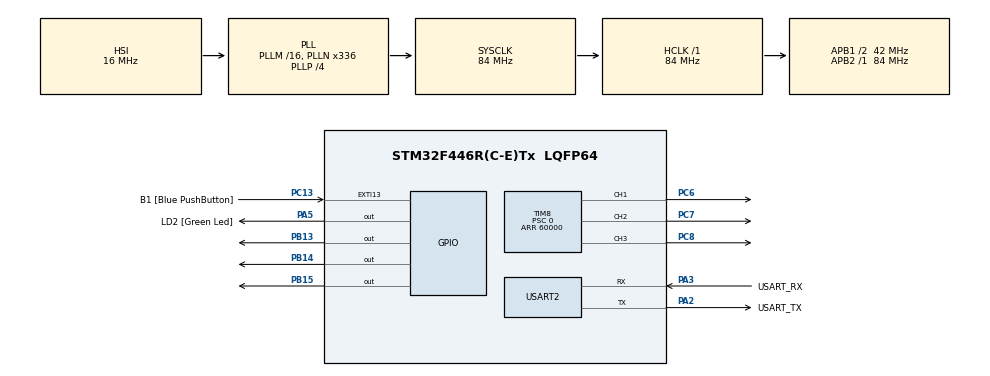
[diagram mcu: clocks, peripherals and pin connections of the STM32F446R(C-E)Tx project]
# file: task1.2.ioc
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Mcu.Family=STM32F4
Mcu.Name=STM32F446R(C-E)Tx
Mcu.Package=LQFP64
NVIC.EXTI15_10_IRQn=true\:0\:0\:false\:false\:true\:true\:true\:true
NVIC.PriorityGroup=NVIC_PRIORITYGROUP_0
NVIC.TIM8_UP_TIM13_IRQn=true\:0\:0\:false\:false\:true\:true\:true\:true
PA13.GPIO_Label=TMS
PA13.Mode=Serial_Wire
PA13.Signal=SYS_JTMS-SWDIO
PA14.GPIO_Label=TCK
PA14.Mode=Serial_Wire
PA14.Signal=SYS_JTCK-SWCLK
PA2.GPIO_Label=USART_TX
PA2.Mode=Asynchronous
PA2.Signal=USART2_TX
PA3.GPIO_Label=USART_RX
PA3.Mode=Asynchronous
PA3.Signal=USART2_RX
PA5.GPIO_Label=LD2 [Green Led]
PA5.Signal=GPIO_Output
PB13.Signal=GPIO_Output
PB14.PinState=GPIO_PIN_RESET
PB14.Signal=GPIO_Output
PB15.Signal=GPIO_Output
PB3.GPIO_Label=SWO
PB3.Signal=SYS_JTDO-SWO
PC13.GPIO_Label=B1 [Blue PushButton]
PC13.GPIO_ModeDefaultEXTI=GPIO_MODE_IT_RISING
PC13.Signal=GPXTI13
PC14-OSC32_IN.Signal=RCC_OSC32_IN
PC15-OSC32_OUT.Signal=RCC_OSC32_OUT
PC6.Signal=S_TIM8_CH1
PC7.Signal=S_TIM8_CH2
PC8.Signal=S_TIM8_CH3
PH0-OSC_IN.Mode=HSE-External-Oscillator
PH0-OSC_IN.Signal=RCC_OSC_IN
PH1-OSC_OUT.Mode=HSE-External-Oscillator
PH1-OSC_OUT.Signal=RCC_OSC_OUT
ProjectManager.HeapSize=0x200
ProjectManager.StackSize=0x400
ProjectManager.TargetToolchain=STM32CubeIDE
RCC.48MHZClocksFreq_Value=84000000
RCC.AHBFreq_Value=84000000
RCC.APB1CLKDivider=RCC_HCLK_DIV2
RCC.APB1Freq_Value=42000000
RCC.APB1TimFreq_Value=84000000
RCC.APB2Freq_Value=84000000
RCC.APB2TimFreq_Value=84000000
RCC.CortexFreq_Value=84000000
RCC.FLatency-AdvancedSettings=FLASH_LATENCY_2
RCC.HCLKFreq_Value=84000000
RCC.HSE_VALUE=8000000
RCC.HSI_VALUE=16000000
RCC.PLLN=336
RCC.PLLP=RCC_PLLP_DIV4
RCC.SYSCLKFreq_VALUE=84000000
RCC.SYSCLKSource=RCC_SYSCLKSOURCE_PLLCLK
RCC.USBFreq_Value=168000000
RCC.VCOOutputFreq_Value=336000000
SH.S_TIM8_CH1.0=TIM8_CH1,PWM Generation1 CH1
SH.S_TIM8_CH2.0=TIM8_CH2,PWM Generation2 CH2
SH.S_TIM8_CH3.0=TIM8_CH3,PWM Generation3 CH3
TIM8.Channel-PWM\ Generation1\ CH1=TIM_CHANNEL_1
TIM8.Channel-PWM\ Generation2\ CH2=TIM_CHANNEL_2
TIM8.Channel-PWM\ Generation3\ CH3=TIM_CHANNEL_3
TIM8.Period=60000
TIM8.Prescaler=0
TIM8.Pulse-PWM\ Generation1\ CH1=30000
TIM8.Pulse-PWM\ Generation2\ CH2=30000
TIM8.Pulse-PWM\ Generation3\ CH3=30000
USART2.VirtualMode=VM_ASYNC
board=NUCLEO-F446RE

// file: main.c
/* USER CODE BEGIN Header */
/**
  ******************************************************************************
  * @file           : main.c
  * @brief          : Main program body
  ******************************************************************************
  * @attention
  *
  * Copyright (c) 2023 STMicroelectronics.
  * All rights reserved.
  *
  * This software is licensed under terms that can be found in the LICENSE file
  * in the root directory of this software component.
  * If no LICENSE file comes with this software, it is provided AS-IS.
  *
  ******************************************************************************
  */
/* USER CODE END Header */
#include "main.h"

TIM_HandleTypeDef htim8;

UART_HandleTypeDef huart2;

void SystemClock_Config(void);
static void MX_GPIO_Init(void);
static void MX_USART2_UART_Init(void);
static void MX_TIM8_Init(void);

/* USER CODE BEGIN 0 */

uint8_t condition;

/* USER CODE END 0 */

int main(void)
{

  /* MCU Configuration--------------------------------------------------------*/

  /* Reset of all peripherals, Initializes the Flash interface and the Systick. */
  HAL_Init();

  /* Configure the system clock */
  SystemClock_Config();

  /* Initialize all configured peripherals */
  MX_GPIO_Init();
  MX_USART2_UART_Init();
  MX_TIM8_Init();
  /* USER CODE BEGIN 2 */

  HAL_TIM_PWM_Start_IT(&htim8, TIM_CHANNEL_1); //проба сделать шим от и до самому
  HAL_TIM_PWM_Start_IT(&htim8, TIM_CHANNEL_2); //проба сделать шим от и до самому
  HAL_TIM_PWM_Start_IT(&htim8, TIM_CHANNEL_3); //проба сделать шим от и до самому

  /* USER CODE END 2 */

  /* Infinite loop */
  /* USER CODE BEGIN WHILE */
  while (1)
  {
	  switch (condition)
	  {
	  case 0:
		  TIM8->CCR1 = 30000;
		  HAL_Delay(1000);
		  TIM8->CCR1 = 0;
		  HAL_Delay(1000);
		  if (condition != 0) break;
		  TIM8->CCR2 = 30000;
		  HAL_Delay(1000);
		  TIM8->CCR2 = 0;
		  HAL_Delay(1000);
		  if (condition != 0) break;
		  TIM8->CCR3 = 30000;
		  HAL_Delay(1000);
		  TIM8->CCR3 = 0;
		  HAL_Delay(1000);
		  break;

	  case 1:
		  TIM8->CCR1 = 30000;
		  HAL_Delay(400);
		  TIM8->CCR1 = 0;
		  HAL_Delay(400);
		  if (condition != 1) break;
		  TIM8->CCR2 = 30000;
		  HAL_Delay(400);
		  TIM8->CCR2 = 0;
		  HAL_Delay(400);
		  if (condition != 1) break;
		  TIM8->CCR3 = 30000;
		  HAL_Delay(400);
		  TIM8->CCR3 = 0;
		  HAL_Delay(400);
		  break;

	  case 2:
		  TIM8->CCR1 = 15000;
		  HAL_Delay(400);
		  TIM8->CCR1 = 0;
		  HAL_Delay(400);
		  if (condition != 2) break;
		  TIM8->CCR2 = 15000;
		  HAL_Delay(400);
		  TIM8->CCR2 = 0;
		  HAL_Delay(400);
		  if (condition != 2) break;
		  TIM8->CCR3 = 15000;
		  HAL_Delay(400);
		  TIM8->CCR3 = 0;
		  HAL_Delay(400);
		  break;

	  case 3:
		  TIM8->CCR1 = 60000;
		  HAL_Delay(400);
		  TIM8->CCR1 = 0;
		  HAL_Delay(400);
		  if (condition != 3) break;
		  TIM8->CCR2 = 60000;
		  HAL_Delay(400);
		  TIM8->CCR2 = 0;
		  HAL_Delay(400);
		  if (condition != 3) break;
		  TIM8->CCR3 = 60000;
		  HAL_Delay(400);
		  TIM8->CCR3 = 0;
		  HAL_Delay(400);
		  break;

	  case 4:
		  TIM8->CCR3 = 30000;
		  HAL_Delay(400);
		  TIM8->CCR3 = 0;
		  HAL_Delay(400);
		  if (condition != 4) break;
		  TIM8->CCR2 = 30000;
		  HAL_Delay(400);
		  TIM8->CCR2 = 0;
		  HAL_Delay(400);
		  if (condition != 4) break;
		  TIM8->CCR1 = 30000;
		  HAL_Delay(400);
		  TIM8->CCR1 = 0;
		  HAL_Delay(400);
		  break;

	  case 5:
		  TIM8->CCR1 = 15000;
		  TIM8->CCR2 = 15000;
		  TIM8->CCR3 = 15000;
		  HAL_Delay(400);

		  if (condition != 5) break;

		  TIM8->CCR1 = 30000;
		  TIM8->CCR2 = 30000;
		  TIM8->CCR3 = 30000;
		  HAL_Delay(400);

		  if (condition != 5) break;

		  TIM8->CCR1 = 60000;
		  TIM8->CCR2 = 60000;
		  TIM8->CCR3 = 60000;
		  HAL_Delay(400);

		  break;

	  default:
		  condition = 0;

	  }

    /* USER CODE END WHILE */

  }
}

void SystemClock_Config(void)
{
  RCC_OscInitTypeDef RCC_OscInitStruct = {0};
  RCC_ClkInitTypeDef RCC_ClkInitStruct = {0};

  /** Configure the main internal regulator output voltage
  */
  __HAL_RCC_PWR_CLK_ENABLE();
  __HAL_PWR_VOLTAGESCALING_CONFIG(PWR_REGULATOR_VOLTAGE_SCALE3);

  /** Initializes the RCC Oscillators according to the specified parameters
  * in the RCC_OscInitTypeDef structure.
  */
  RCC_OscInitStruct.OscillatorType = RCC_OSCILLATORTYPE_HSI;
  RCC_OscInitStruct.HSIState = RCC_HSI_ON;
  RCC_OscInitStruct.HSICalibrationValue = RCC_HSICALIBRATION_DEFAULT;
  RCC_OscInitStruct.PLL.PLLState = RCC_PLL_ON;
  RCC_OscInitStruct.PLL.PLLSource = RCC_PLLSOURCE_HSI;
  RCC_OscInitStruct.PLL.PLLM = 16;
  RCC_OscInitStruct.PLL.PLLN = 336;
  RCC_OscInitStruct.PLL.PLLP = RCC_PLLP_DIV4;
  RCC_OscInitStruct.PLL.PLLQ = 2;
  RCC_OscInitStruct.PLL.PLLR = 2;
  if (HAL_RCC_OscConfig(&RCC_OscInitStruct) != HAL_OK)
  {
    Error_Handler();
  }

  /** Initializes the CPU, AHB and APB buses clocks
  */
  RCC_ClkInitStruct.ClockType = RCC_CLOCKTYPE_HCLK|RCC_CLOCKTYPE_SYSCLK
                              |RCC_CLOCKTYPE_PCLK1|RCC_CLOCKTYPE_PCLK2;
  RCC_ClkInitStruct.SYSCLKSource = RCC_SYSCLKSOURCE_PLLCLK;
  RCC_ClkInitStruct.AHBCLKDivider = RCC_SYSCLK_DIV1;
  RCC_ClkInitStruct.APB1CLKDivider = RCC_HCLK_DIV2;
  RCC_ClkInitStruct.APB2CLKDivider = RCC_HCLK_DIV1;

  if (HAL_RCC_ClockConfig(&RCC_ClkInitStruct, FLASH_LATENCY_2) != HAL_OK)
  {
    Error_Handler();
  }
}

static void MX_TIM8_Init(void)
{

  TIM_MasterConfigTypeDef sMasterConfig = {0};
  TIM_OC_InitTypeDef sConfigOC = {0};
  TIM_BreakDeadTimeConfigTypeDef sBreakDeadTimeConfig = {0};

  htim8.Instance = TIM8;
  htim8.Init.Prescaler = 0;
  htim8.Init.CounterMode = TIM_COUNTERMODE_UP;
  htim8.Init.Period = 60000;
  htim8.Init.ClockDivision = TIM_CLOCKDIVISION_DIV1;
  htim8.Init.RepetitionCounter = 0;
  htim8.Init.AutoReloadPreload = TIM_AUTORELOAD_PRELOAD_DISABLE;
  if (HAL_TIM_PWM_Init(&htim8) != HAL_OK)
  {
    Error_Handler();
  }
  sMasterConfig.MasterOutputTrigger = TIM_TRGO_RESET;
  sMasterConfig.MasterSlaveMode = TIM_MASTERSLAVEMODE_DISABLE;
  if (HAL_TIMEx_MasterConfigSynchronization(&htim8, &sMasterConfig) != HAL_OK)
  {
    Error_Handler();
  }
  sConfigOC.OCMode = TIM_OCMODE_PWM1;
  sConfigOC.Pulse = 30000;
  sConfigOC.OCPolarity = TIM_OCPOLARITY_HIGH;
  sConfigOC.OCNPolarity = TIM_OCNPOLARITY_HIGH;
  sConfigOC.OCFastMode = TIM_OCFAST_DISABLE;
  sConfigOC.OCIdleState = TIM_OCIDLESTATE_RESET;
  sConfigOC.OCNIdleState = TIM_OCNIDLESTATE_RESET;
  if (HAL_TIM_PWM_ConfigChannel(&htim8, &sConfigOC, TIM_CHANNEL_1) != HAL_OK)
  {
    Error_Handler();
  }
  if (HAL_TIM_PWM_ConfigChannel(&htim8, &sConfigOC, TIM_CHANNEL_2) != HAL_OK)
  {
    Error_Handler();
  }
  if (HAL_TIM_PWM_ConfigChannel(&htim8, &sConfigOC, TIM_CHANNEL_3) != HAL_OK)
  {
    Error_Handler();
  }
  sBreakDeadTimeConfig.OffStateRunMode = TIM_OSSR_DISABLE;
  sBreakDeadTimeConfig.OffStateIDLEMode = TIM_OSSI_DISABLE;
  sBreakDeadTimeConfig.LockLevel = TIM_LOCKLEVEL_OFF;
  sBreakDeadTimeConfig.DeadTime = 0;
  sBreakDeadTimeConfig.BreakState = TIM_BREAK_DISABLE;
  sBreakDeadTimeConfig.BreakPolarity = TIM_BREAKPOLARITY_HIGH;
  sBreakDeadTimeConfig.AutomaticOutput = TIM_AUTOMATICOUTPUT_DISABLE;
  if (HAL_TIMEx_ConfigBreakDeadTime(&htim8, &sBreakDeadTimeConfig) != HAL_OK)
  {
    Error_Handler();
  }
  HAL_TIM_MspPostInit(&htim8);

}

static void MX_USART2_UART_Init(void)
{

  huart2.Instance = USART2;
  huart2.Init.BaudRate = 115200;
  huart2.Init.WordLength = UART_WORDLENGTH_8B;
  huart2.Init.StopBits = UART_STOPBITS_1;
  huart2.Init.Parity = UART_PARITY_NONE;
  huart2.Init.Mode = UART_MODE_TX_RX;
  huart2.Init.HwFlowCtl = UART_HWCONTROL_NONE;
  huart2.Init.OverSampling = UART_OVERSAMPLING_16;
  if (HAL_UART_Init(&huart2) != HAL_OK)
  {
    Error_Handler();
  }

}

static void MX_GPIO_Init(void)
{
  GPIO_InitTypeDef GPIO_InitStruct = {0};

  /* GPIO Ports Clock Enable */
  __HAL_RCC_GPIOC_CLK_ENABLE();
  __HAL_RCC_GPIOH_CLK_ENABLE();
  __HAL_RCC_GPIOA_CLK_ENABLE();
  __HAL_RCC_GPIOB_CLK_ENABLE();

  /*Configure GPIO pin Output Level */
  HAL_GPIO_WritePin(LD2_GPIO_Port, LD2_Pin, GPIO_PIN_RESET);

  /*Configure GPIO pin Output Level */
  HAL_GPIO_WritePin(GPIOB, GPIO_PIN_13|GPIO_PIN_14|GPIO_PIN_15, GPIO_PIN_RESET);

  /*Configure GPIO pin : B1_Pin */
  GPIO_InitStruct.Pin = B1_Pin;
  GPIO_InitStruct.Mode = GPIO_MODE_IT_RISING;
  GPIO_InitStruct.Pull = GPIO_NOPULL;
  HAL_GPIO_Init(B1_GPIO_Port, &GPIO_InitStruct);

  /*Configure GPIO pin : LD2_Pin */
  GPIO_InitStruct.Pin = LD2_Pin;
  GPIO_InitStruct.Mode = GPIO_MODE_OUTPUT_PP;
  GPIO_InitStruct.Pull = GPIO_NOPULL;
  GPIO_InitStruct.Speed = GPIO_SPEED_FREQ_LOW;
  HAL_GPIO_Init(LD2_GPIO_Port, &GPIO_InitStruct);

  /*Configure GPIO pins : PB13 PB14 PB15 */
  GPIO_InitStruct.Pin = GPIO_PIN_13|GPIO_PIN_14|GPIO_PIN_15;
  GPIO_InitStruct.Mode = GPIO_MODE_OUTPUT_PP;
  GPIO_InitStruct.Pull = GPIO_NOPULL;
  GPIO_InitStruct.Speed = GPIO_SPEED_FREQ_LOW;
  HAL_GPIO_Init(GPIOB, &GPIO_InitStruct);

  /* EXTI interrupt init*/
  HAL_NVIC_SetPriority(EXTI15_10_IRQn, 0, 0);
  HAL_NVIC_EnableIRQ(EXTI15_10_IRQn);

}

/* USER CODE BEGIN 4 */

void HAL_TIM_PeriodElapsedCallback(TIM_HandleTypeDef *htim1) //колбек вызывающийся при окончании периода шим
{
	if (htim1->Instance == TIM1) //проверка на то от какого таймера пришел колббек
	{
		//HAL_GPIO_TogglePin(LD2_GPIO_Port, LD2_Pin);
	}
}

void HAL_TIM_PWM_PulseFinishedCallback(TIM_HandleTypeDef *htim)
{
	if(htim->Instance == TIM8)
	{
		//HAL_GPIO_TogglePin(GPIOC, GPIO_PIN_8);
	}
}

/* USER CODE END 4 */

void Error_Handler(void)
{
  __disable_irq();
  while (1)
  {
  }
}
